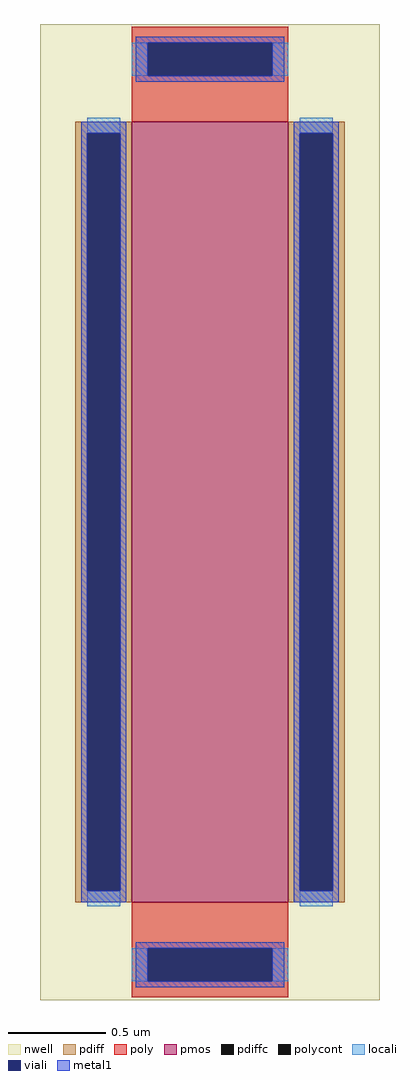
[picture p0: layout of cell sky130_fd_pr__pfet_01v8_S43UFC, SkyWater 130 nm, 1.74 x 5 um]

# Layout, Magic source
magic
tech sky130A
magscale 1 2
<< nwell >>
rect -174 -500 174 500
<< pmos >>
rect -80 -400 80 400
<< pdiff >>
rect -138 388 -80 400
rect -138 -388 -126 388
rect -92 -388 -80 388
rect -138 -400 -80 -388
rect 80 388 138 400
rect 80 -388 92 388
rect 126 -388 138 388
rect 80 -400 138 -388
<< pdiffc >>
rect -126 -388 -92 388
rect 92 -388 126 388
<< poly >>
rect -80 481 80 497
rect -80 447 -64 481
rect 64 447 80 481
rect -80 400 80 447
rect -80 -447 80 -400
rect -80 -481 -64 -447
rect 64 -481 80 -447
rect -80 -497 80 -481
<< polycont >>
rect -64 447 64 481
rect -64 -481 64 -447
<< locali >>
rect -80 447 -64 481
rect 64 447 80 481
rect -126 388 -92 404
rect -126 -404 -92 -388
rect 92 388 126 404
rect 92 -404 126 -388
rect -80 -481 -64 -447
rect 64 -481 80 -447
<< viali >>
rect -64 447 64 481
rect -126 -388 -92 388
rect 92 -388 126 388
rect -64 -481 64 -447
<< metal1 >>
rect -76 481 76 487
rect -76 447 -64 481
rect 64 447 76 481
rect -76 441 76 447
rect -132 388 -86 400
rect -132 -388 -126 388
rect -92 -388 -86 388
rect -132 -400 -86 -388
rect 86 388 132 400
rect 86 -388 92 388
rect 126 -388 132 388
rect 86 -400 132 -388
rect -76 -447 76 -441
rect -76 -481 -64 -447
rect 64 -481 76 -447
rect -76 -487 76 -481
<< properties >>
string gencell sky130_fd_pr__pfet_01v8
string library sky130
string parameters w 4 l 0.8 m 1 nf 1 diffcov 100 polycov 100 guard 0 glc 0 grc 0 gtc 0 gbc 0 tbcov 100 rlcov 100 topc 0 botc 0 poverlap 1 doverlap 0 lmin 0.15 wmin 0.42 compatible {sky130_fd_pr__pfet_01v8  sky130_fd_pr__pfet_01v8_lvt sky130_fd_pr__pfet_01v8_hvt  sky130_fd_pr__pfet_g5v0d10v5} full_metal 0 viasrc 100 viadrn 100 viagate 100 viagb 0 viagr 0 viagl 0 viagt 0
<< end >>
